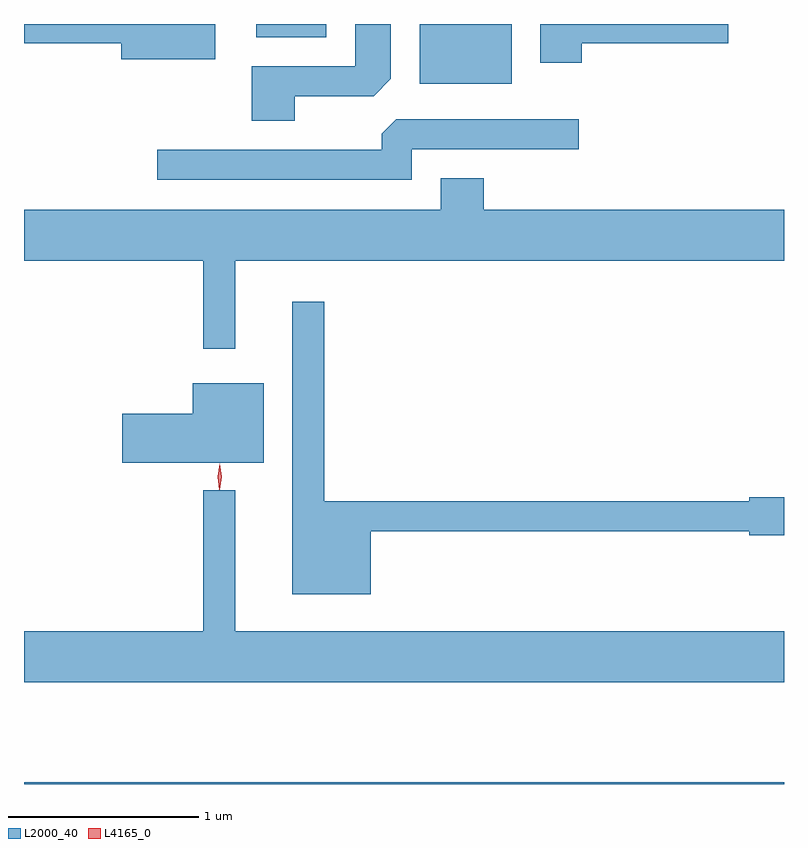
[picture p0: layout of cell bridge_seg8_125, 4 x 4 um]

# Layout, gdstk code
import gdstk
lib = gdstk.Library(unit=1e-6, precision=1e-09)
def R(c, l, rs):  # rectangles x0, y0, x1, y1
    for r in rs: c.add(gdstk.rectangle(r[:2], r[2:], *l))
def P(c, l, *ps):  # polygons
    for p in ps: c.add(gdstk.Polygon(p, *l))
L2000_40 = (2000, 40)
L4165_0 = (4165, 0)

bridge_seg8_125 = lib.new_cell('bridge_seg8_125')
R(bridge_seg8_125, L2000_40, [(1716.238,1869.181,1720.238,1869.189), (1718.321,1872.866,1718.804,1873.181), (1717.461,1873.111,1717.829,1873.181)])
P(bridge_seg8_125, L2000_40, [(1717.664,1872.801),(1718.079,1872.801),(1718.169,1872.892),(1718.169,1873.181),(1717.981,1873.181),(1717.981,1872.959),(1717.436,1872.959),(1717.436,1872.671),(1717.664,1872.671)],
  [(1719.174,1873.081),(1719.944,1873.081),(1719.944,1873.181),(1718.956,1873.181),(1718.956,1872.976),(1719.174,1872.976)],
  [(1717.244,1873.181),(1716.238,1873.181),(1716.238,1873.081),(1716.751,1873.081),(1716.751,1872.996),(1717.244,1872.996)],
  [(1718.279,1872.521),(1719.158,1872.521),(1719.158,1872.679),(1718.197,1872.679),(1718.121,1872.604),(1718.121,1872.519),(1716.938,1872.519),(1716.938,1872.361),(1718.279,1872.361)],
  [(1717.349,1871.936),(1720.238,1871.936),(1720.238,1872.204),(1718.659,1872.204),(1718.659,1872.369),(1718.431,1872.369),(1718.431,1872.204),(1716.238,1872.204),(1716.238,1871.936),(1717.181,1871.936),(1717.181,1871.473),(1717.349,1871.473)],
  [(1718.064,1870.511),(1720.056,1870.511),(1720.056,1870.491),(1720.238,1870.491),(1720.238,1870.689),(1720.056,1870.689),(1720.056,1870.669),(1717.819,1870.669),(1717.819,1871.718),(1717.651,1871.718),(1717.651,1870.181),(1718.064,1870.181)],
  [(1717.499,1871.289),(1717.126,1871.289),(1717.126,1871.129),(1716.756,1871.129),(1716.756,1870.871),(1717.499,1870.871)],
  [(1720.238,1869.984),(1717.349,1869.984),(1717.349,1870.728),(1717.181,1870.728),(1717.181,1869.984),(1716.238,1869.984),(1716.238,1869.716),(1720.238,1869.716)])
P(bridge_seg8_125, L4165_0, [(1717.266,1870.73),(1717.258,1870.798),(1717.268,1870.866),(1717.268,1870.866),(1717.269,1870.866),(1717.278,1870.798),(1717.267,1870.73),(1717.267,1870.73)],
  [(1717.266,1870.733),(1717.258,1870.796),(1717.268,1870.859),(1717.269,1870.86),(1717.269,1870.859),(1717.278,1870.796),(1717.267,1870.733),(1717.267,1870.733)])

lib.write_gds('bridge_seg8_125.gds')
